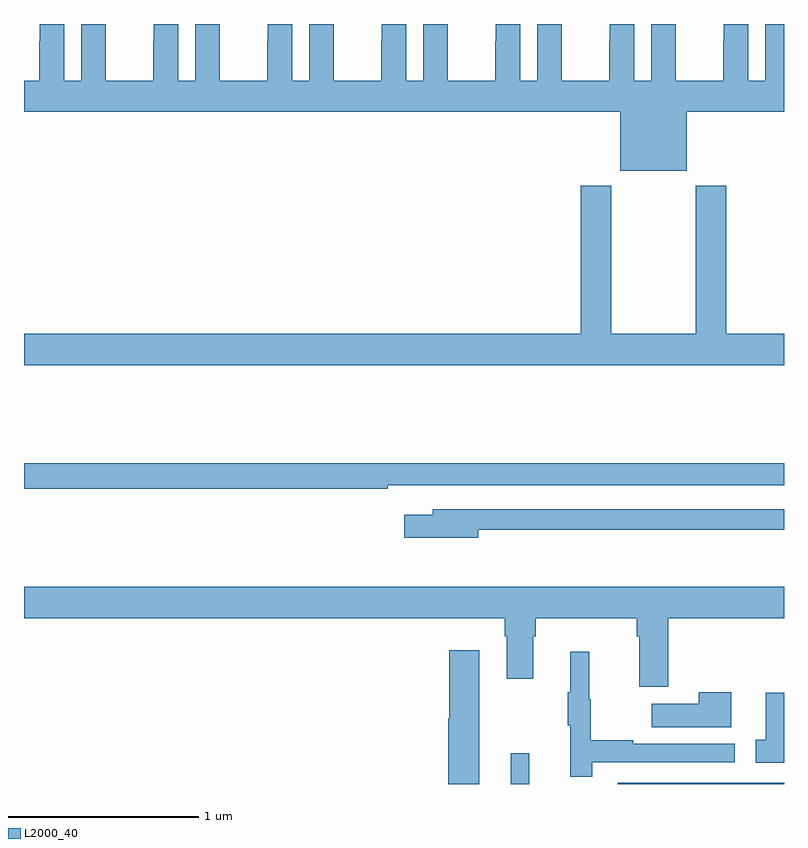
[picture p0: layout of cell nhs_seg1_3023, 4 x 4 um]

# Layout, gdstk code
import gdstk
lib = gdstk.Library(unit=1e-6, precision=1e-09)
def R(c, l, rs):  # rectangles x0, y0, x1, y1
    for r in rs: c.add(gdstk.rectangle(r[:2], r[2:], *l))
def P(c, l, *ps):  # polygons
    for p in ps: c.add(gdstk.Polygon(p, *l))
L2000_40 = (2000, 40)

nhs_seg1_3023 = lib.new_cell('nhs_seg1_3023')
R(nhs_seg1_3023, L2000_40, [(277.562,544.199,277.659,544.36), (278.124,544.199,279,544.206)])
P(nhs_seg1_3023, L2000_40, [(275.3,548.199),(275.3,547.9),(275.212,547.9),(275.212,548.199),(275.082,548.199),(275.082,548.108),(275.081,548.108),(275.081,547.9),(275,547.9),(275,547.736),(278.138,547.736),(278.138,547.427),(278.488,547.427),(278.488,547.736),(279,547.736),(279,548.199),(278.9,548.199),(278.9,547.9),(278.812,547.9),(278.812,548.199),(278.682,548.199),(278.682,548.108),(278.681,548.108),(278.681,547.9),(278.431,547.9),(278.431,548.108),(278.43,548.108),(278.43,548.199),(278.3,548.199),(278.3,547.9),(278.212,547.9),(278.212,548.199),(278.082,548.199),(278.082,548.108),(278.081,548.108),(278.081,547.9),(277.831,547.9),(277.831,548.108),(277.83,548.108),(277.83,548.199),(277.7,548.199),(277.7,547.9),(277.612,547.9),(277.612,548.199),(277.482,548.199),(277.482,548.108),(277.481,548.108),(277.481,547.9),(277.231,547.9),(277.231,548.108),(277.23,548.108),(277.23,548.199),(277.1,548.199),(277.1,547.9),(277.012,547.9),(277.012,548.199),(276.882,548.199),(276.882,548.108),(276.881,548.108),(276.881,547.9),(276.631,547.9),(276.631,548.108),(276.63,548.108),(276.63,548.199),(276.5,548.199),(276.5,547.9),(276.412,547.9),(276.412,548.199),(276.282,548.199),(276.282,548.108),(276.281,548.108),(276.281,547.9),(276.031,547.9),(276.031,548.108),(276.03,548.108),(276.03,548.199),(275.9,548.199),(275.9,547.9),(275.812,547.9),(275.812,548.199),(275.682,548.199),(275.682,548.108),(275.681,548.108),(275.681,547.9),(275.431,547.9),(275.431,548.108),(275.43,548.108),(275.43,548.199)],
  [(279,546.568),(278.696,546.568),(278.696,547.348),(278.536,547.348),(278.536,546.568),(278.091,546.568),(278.091,547.348),(277.931,547.348),(277.931,546.568),(275,546.568),(275,546.404),(279,546.404)],
  [(276.914,545.772),(279,545.772),(279,545.888),(275,545.888),(275,545.752),(276.914,545.752)],
  [(277.39,545.538),(279,545.538),(279,545.646),(277.151,545.646),(277.151,545.617),(277.002,545.617),(277.002,545.495),(277.39,545.495)],
  [(278.39,545.072),(279,545.072),(279,545.236),(275,545.236),(275,545.072),(277.529,545.072),(277.529,544.976),(277.541,544.976),(277.541,544.752),(277.681,544.752),(277.681,544.976),(277.694,544.976),(277.694,545.072),(278.225,545.072),(278.225,544.976),(278.237,544.976),(278.237,544.71),(278.39,544.71)],
  [(277.396,544.903),(277.238,544.903),(277.238,544.545),(277.232,544.545),(277.232,544.199),(277.396,544.199)],
  [(277.991,544.314),(278.74,544.314),(278.74,544.41),(278.207,544.41),(278.207,544.43),(277.984,544.43),(277.984,544.644),(277.976,544.644),(277.976,544.894),(277.874,544.894),(277.874,544.681),(277.863,544.681),(277.863,544.507),(277.874,544.507),(277.874,544.236),(277.991,544.236)],
  [(278.722,544.681),(278.552,544.681),(278.552,544.621),(278.303,544.621),(278.303,544.499),(278.722,544.499)],
  [(279,544.678),(278.903,544.678),(278.903,544.431),(278.85,544.431),(278.85,544.311),(279,544.311)])

lib.write_gds('nhs_seg1_3023.gds')
